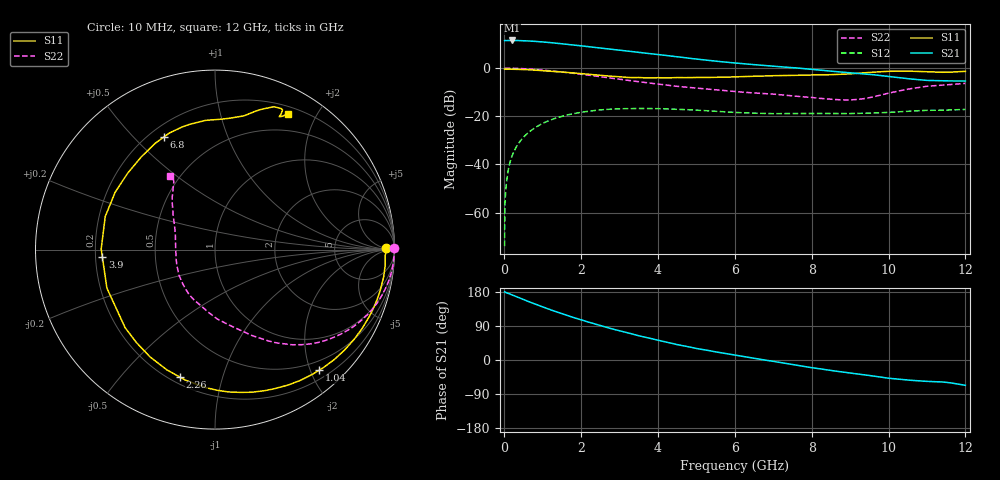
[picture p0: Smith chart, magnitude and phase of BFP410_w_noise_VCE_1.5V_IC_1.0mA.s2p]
! Infineon Technologies  Discrete & RF Semiconductors
! BFP410
! VCE =  1.5 V,  IC =  1.0 mA
! Common Emitter S-Parameters:  Nov 2015
# GHz  S  MA  R  50
!  f  S11  S21  S12  S22
! GHz  MAG  ANG  MAG  ANG  MAG  ANG  MAG  ANG
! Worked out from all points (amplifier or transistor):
!   243 points, 10 MHz to 12 GHz, reference 50 ohm
!   highest |S21| = 11.5 dB at 200 MHz (marker M1)
!   |S21| within 3 dB of that: start of sweep to 2.442 GHz
!   unconditionally stable (mu >= 1): 4.61 GHz to end of sweep
!   at 240 MHz: K = 0.02, MSG = 23.3 dB, |S12| = -35.1 dB
!   at 1.84 GHz: K = 0.29, MSG = 14.2 dB, |S12| = -18.8 dB
!   at 12 GHz: K = 1.29, MAG = 2.7 dB, |S12| = -17.1 dB
!   lowest NFmin = 0.79 dB at 900 MHz
!   S11 on the Smith chart (normalised r, x): 10 MHz: 42, +6; 1.04 GHz: 0.34, -2.14; 2.26 GHz: 0.24, -0.73; 3.9 GHz: 0.23, -0.03; 6.8 GHz: 0.26, +0.61; 12 GHz: 0.28, +1.64
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0.01  0.9547 0.4  3.733 179.6  0.0002 89.2  1 0.5
0.015  0.9551 -0.1  3.742 179.5  0.0009 89.6  0.9978 0.3
0.02  0.9556 -0.5  3.752 179.4  0.0016 89.6  0.9956 0.0
0.045  0.9495 -1.7  3.741 177.8  0.0033 88.8  0.9977 -0.9
0.105  0.9524 -4.8  3.76 175.9  0.0077 87.0  0.9977 -2.6
0.2  0.952 -9.2  3.767 172.0  0.0147 84.9  0.9949 -5.2
0.38  0.944 -17.8  3.747 164.6  0.0279 79.8  0.9845 -9.8
0.62  0.928 -29.2  3.677 154.7  0.0451 73.0  0.9622 -15.8
1.04  0.8876 -49.3  3.484 138.7  0.0736 61.0  0.9057 -25.8
1.58  0.8225 -74.6  3.168 119.3  0.1036 46.2  0.8176 -37.0
2.02  0.7681 -94.5  2.901 105.4  0.1218 35.5  0.7465 -44.7
2.26  0.7369 -105.4  2.768 98.0  0.1296 29.7  0.7063 -48.6
3  0.6634 -139.0  2.374 76.9  0.1436 13.7  0.5882 -59.8
3.9  0.629 -176.3  1.96 54.6  0.1445 -1.1  0.478 -71.7
4.1  0.6308 176.4  1.881 49.9  0.1436 -3.9  0.4571 -74.5
5  0.6417 150.1  1.548 30.5  0.1345 -14.5  0.3856 -88.4
6.1  0.6622 126.7  1.261 11.3  0.1195 -20.7  0.3223 -104.1
6.8  0.6886 114.5  1.131 -0.3  0.1145 -21.5  0.295 -116.6
8.2  0.7236 90.5  0.915 -23.0  0.1146 -23.5  0.2364 -151.0
9.2  0.7832 75.6  0.778 -36.9  0.1149 -23.7  0.2243 168.7
10.2  0.8644 66.2  0.645 -50.0  0.1232 -23.8  0.3272 136.1
12  0.8595 61.6  0.54 -66.8  0.1389 -32.2  0.4822 121.2
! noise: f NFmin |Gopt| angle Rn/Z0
0.45  0.82  0.68  9  0.45
0.9  0.79  0.65  23  0.41
1.8  1.13  0.53  57  0.35
2.4  1.23  0.5  71  0.31
5.5  2.66  0.44  -153  0.19
